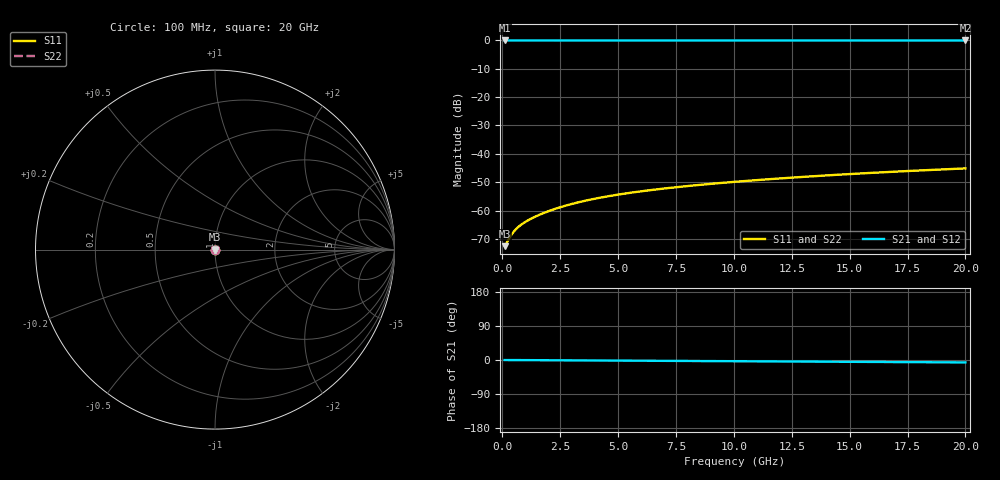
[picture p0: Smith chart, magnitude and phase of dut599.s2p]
! Touchstone file exported from HFSS 2026.1.0
!  File:  C:/ffzhzh/LocalFiles/Ansys_Project_Files/temp_train_TSV_599_1783025393_51716.aedt
!  Generated:  04:51:47 AM Jul  3, 2026
!  Design:  TSV
!  Project:  temp_train_TSV_599_1783025393_51716
! Variables:
!  h_bsmrdl = 2um
!  h_ox = 20um
!  h_rdl = 5um
!  h_sub = 65.27um
!  h_tmrdl = 5um
!  h_tsv = 65.27um
!  h_via = 3um
!  l_bsmrdl = 300um
!  l_sub = 412.74um
!  l_tmrdl = 200um
!  m_sub = 200um
!  pitch = 27.38um
!  r_tsv = 6.37um
!  s_tmrdl = 10um
!  w_bsmrdl = 18um
!  w_sub = 500um
!  w_tmrdl = 12um
!  x_tsv_center1 = 206um
!  x_tsv_center2 = 524um
!  x_tsv_center3 = 736um
!  x_tsv_center4 = 1054um
!  x_tsv_center5 = 1266um
!  x_tsv_center6 = 1584um
# GHz S MA R 50.000000
! Terminal data exported
! Port[1] = TSV1_1_T1
! Port[2] = TSV1_1_T2
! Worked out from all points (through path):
!   200 points, 100 MHz to 20 GHz, reference 50 ohm
!   highest |S21| = 0.00 dB at 100 MHz (marker M1); lowest = 0.0 dB at 20 GHz (marker M2)
!   lowest |S11| = -72.6 dB at 100 MHz (marker M3), VSWR 1.00, Z = 50 + j0.0071 ohm
!   |S11| at or under -10 dB: start of sweep to end of sweep
!   |S22| runs from -72.6 to -45.1 dB; largest |S21 - S12| = 3.1e-15
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0.1  0.0002353 17.6  0.9998 -0.0  0.9998 -0.0  0.0002353 17.6
! Gamma 0 0 0 0
! Port Impedance 50 0 50 0
0.3  0.0003254 37.8  0.9997 -0.1  0.9997 -0.1  0.0003254 37.8
0.4  0.0003774 42.2  0.9997 -0.1  0.9997 -0.1  0.0003774 42.2
0.5  0.0004271 45.0  0.9997 -0.2  0.9997 -0.2  0.0004271 45.0
0.6  0.0004735 46.9  0.9997 -0.2  0.9997 -0.2  0.0004735 46.9
0.8  0.000557 49.5  0.9996 -0.3  0.9996 -0.3  0.000557 49.5
1.1  0.0006681 52.4  0.9996 -0.4  0.9996 -0.4  0.0006681 52.4
1.3  0.0007379 54.1  0.9996 -0.4  0.9996 -0.4  0.0007379 54.1
1.6  0.0008404 56.3  0.9995 -0.5  0.9995 -0.5  0.0008404 56.3
2.1  0.001009 59.0  0.9995 -0.7  0.9995 -0.7  0.001009 59.0
2.8  0.001241 61.3  0.9994 -0.9  0.9994 -0.9  0.001241 61.3
3.5  0.001465 62.7  0.9993 -1.1  0.9993 -1.1  0.001465 62.7
4.2  0.001678 63.5  0.9993 -1.4  0.9993 -1.4  0.001678 63.5
5  0.00191 64.1  0.9992 -1.6  0.9992 -1.6  0.00191 64.1
5.8  0.002132 64.6  0.9991 -1.9  0.9991 -1.9  0.002132 64.6
6.8  0.002397 65.1  0.9991 -2.2  0.9991 -2.2  0.002397 65.1
8.3  0.002781 65.8  0.999 -2.7  0.999 -2.7  0.002781 65.8
10.1  0.003227 66.4  0.9989 -3.2  0.9989 -3.2  0.003227 66.4
11.7  0.003615 66.8  0.9988 -3.7  0.9988 -3.7  0.003615 66.8
13.4  0.004022 67.1  0.9987 -4.3  0.9987 -4.3  0.004022 67.1
16.7  0.004794 67.2  0.9986 -5.3  0.9986 -5.3  0.004793 67.2
20  0.005535 66.9  0.9984 -6.4  0.9984 -6.4  0.005534 67.0
